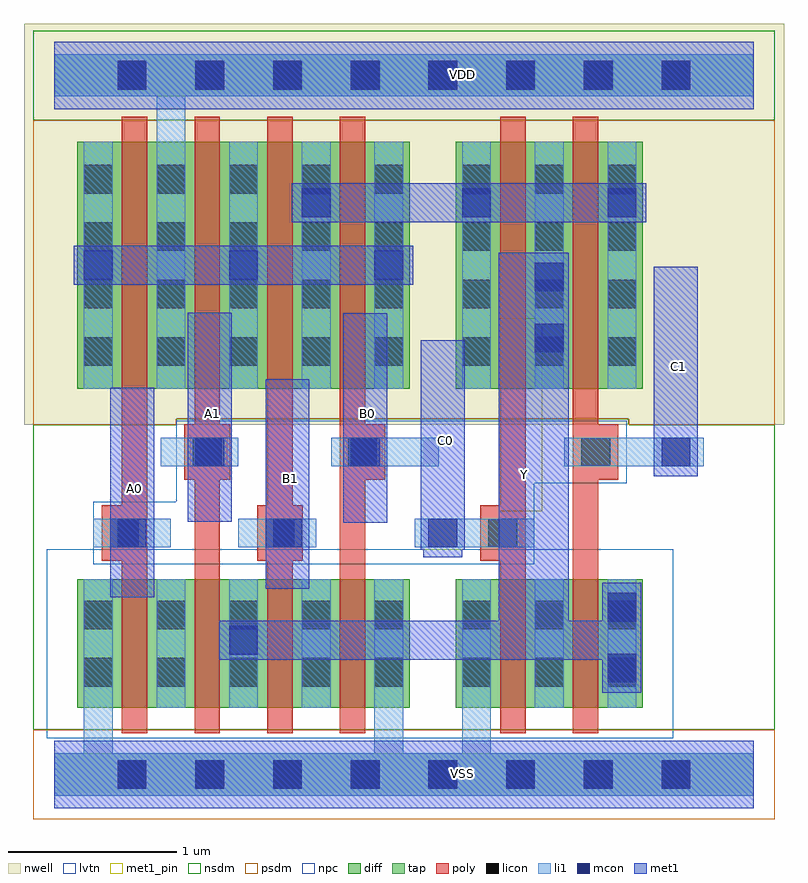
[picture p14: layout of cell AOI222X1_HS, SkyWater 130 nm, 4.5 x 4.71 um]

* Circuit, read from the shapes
.subckt AOI222X1_HS A0 A1 B0 B1 C0 C1 VDD VSS Y
XM1 n1 A0 VSS VSS sky130_fd_pr__nfet_01v8_lvt w=0.76 l=0.15
XM2 Y A1 n1 VSS sky130_fd_pr__nfet_01v8_lvt w=0.76 l=0.15
XM3 n2 B1 Y VSS sky130_fd_pr__nfet_01v8_lvt w=0.76 l=0.15
XM4 VSS B0 n2 VSS sky130_fd_pr__nfet_01v8_lvt w=0.76 l=0.15
XM5 n3 C0 VSS VSS sky130_fd_pr__nfet_01v8_lvt w=0.76 l=0.15
XM6 Y C1 n3 VSS sky130_fd_pr__nfet_01v8_lvt w=0.76 l=0.15
XM7 VDD A0 n4 VDD sky130_fd_pr__pfet_01v8 w=1.46 l=0.15
XM8 n4 A1 VDD VDD sky130_fd_pr__pfet_01v8 w=1.46 l=0.15
XM9 n5 B1 n4 VDD sky130_fd_pr__pfet_01v8 w=1.46 l=0.15
XM10 n4 B0 n5 VDD sky130_fd_pr__pfet_01v8 w=1.46 l=0.15
XM11 Y C0 n5 VDD sky130_fd_pr__pfet_01v8 w=1.46 l=0.15
XM12 n5 C1 Y VDD sky130_fd_pr__pfet_01v8 w=1.46 l=0.15
.ends

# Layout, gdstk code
import gdstk
lib = gdstk.Library(unit=1e-6, precision=1e-09)
def R(c, l, rs):  # rectangles x0, y0, x1, y1
    for r in rs: c.add(gdstk.rectangle(r[:2], r[2:], *l))
def A(c, l, x, y, w, h, nx, ny, dx, dy):  # array of equal rectangles
    R(c, l, [(x+i*dx, y+j*dy, x+i*dx+w, y+j*dy+h) for i in range(nx) for j in range(ny)])
def P(c, l, *ps):  # polygons
    for p in ps: c.add(gdstk.Polygon(p, *l))
nwell = (64, 20)
diff = (65, 20)
tap = (65, 44)
poly = (66, 20)
licon = (66, 44)
li1 = (67, 20)
mcon = (67, 44)
met1_pin = (68, 16)
met1 = (68, 20)
nsdm = (93, 44)
psdm = (94, 20)
npc = (95, 20)
lvtn = (125, 44)

l1m1_c_cdns_750721774076 = lib.new_cell('L1M1_C_CDNS_750721774076')
R(l1m1_c_cdns_750721774076, li1, [(-0.085,-0.345,0.085,0.345)])
R(l1m1_c_cdns_750721774076, mcon, [(-0.085,-0.265,0.085,-0.095), (-0.085,0.095,0.085,0.265)])
R(l1m1_c_cdns_750721774076, met1, [(-0.115,-0.325,0.115,0.325)])

l1m1_c_cdns_750721774071 = lib.new_cell('L1M1_C_CDNS_7507217740713')
R(l1m1_c_cdns_750721774071, li1, [(-0.085,-0.165,0.085,0.165)])
R(l1m1_c_cdns_750721774071, mcon, [(-0.085,-0.085,0.085,0.085)])
R(l1m1_c_cdns_750721774071, met1, [(-0.145,-0.115,0.145,0.115)])

pyl1con_c_cdns_750721774 = lib.new_cell('PYL1CON_C_CDNS_750721774073')
R(pyl1con_c_cdns_750721774, poly, [(-0.135,-0.165,0.135,0.165)])
R(pyl1con_c_cdns_750721774, licon, [(-0.085,-0.085,0.085,0.085)])
R(pyl1con_c_cdns_750721774, npc, [(-0.185,-0.185,0.185,0.185)])

l1m1_c_cdns_750721774074 = lib.new_cell('L1M1_C_CDNS_750721774074')
R(l1m1_c_cdns_750721774074, li1, [(-0.165,-0.085,0.165,0.085)])
R(l1m1_c_cdns_750721774074, mcon, [(-0.085,-0.085,0.085,0.085)])
R(l1m1_c_cdns_750721774074, met1, [(-0.115,-0.145,0.115,0.145)])

l1m1_c_cdns_750721774072 = lib.new_cell('L1M1_C_CDNS_7507217740720')
R(l1m1_c_cdns_750721774072, li1, [(-0.085,-0.165,0.085,0.165)])
R(l1m1_c_cdns_750721774072, mcon, [(-0.085,-0.085,0.085,0.085)])
R(l1m1_c_cdns_750721774072, met1, [(-0.115,-0.085,0.115,0.085)])

aoi222x1_hs = lib.new_cell('AOI222X1_HS')
R(aoi222x1_hs, nwell, [(-0.18,2.07,4.32,4.305), (-0.045,2.105,0.785,3.925), (0.425,2.105,1.215,3.925), (0.855,2.105,1.645,3.925), (1.285,2.105,2.285,3.925), (2.195,2.105,3.195,3.925), (2.835,2.105,3.665,3.925), (-0.18,3.875,4.32,4.445)])
A(aoi222x1_hs, diff, 0.4, 0.395, 0.15, 0.76, 4, 1, 0.43, 0)
A(aoi222x1_hs, diff, 0.55, 0.395, 0.225, 0.76, 3, 1, 0.43, 0)
A(aoi222x1_hs, diff, 0.775, 0.395, 0.055, 0.76, 3, 1, 0.43, 0)
A(aoi222x1_hs, diff, 0.4, 2.285, 0.15, 1.46, 4, 1, 0.43, 0)
A(aoi222x1_hs, diff, 0.55, 2.285, 0.055, 1.46, 3, 1, 0.43, 0)
A(aoi222x1_hs, diff, 0.605, 2.285, 0.225, 1.46, 3, 1, 0.43, 0)
R(aoi222x1_hs, diff, [(0.135,0.395,0.4,1.155), (1.84,0.395,2.105,1.155), (2.375,0.395,2.64,1.155), (2.64,0.395,2.79,1.155), (2.79,0.395,2.845,1.155), (2.845,0.395,3.07,1.155), (3.07,0.395,3.22,1.155), (3.22,0.395,3.485,1.155), (0.135,2.285,0.4,3.745), (1.84,2.285,2.105,3.745), (2.375,2.285,2.64,3.745), (2.64,2.285,2.79,3.745), (2.79,2.285,3.015,3.745), (3.015,2.285,3.07,3.745), (3.07,2.285,3.22,3.745), (3.22,2.285,3.485,3.745)])
A(aoi222x1_hs, poly, 0.4, 0.245, 0.15, 0.055, 4, 2, 0.43, 1.005)
A(aoi222x1_hs, poly, 0.4, 0.3, 0.15, 0.095, 4, 2, 0.43, 0.855)
A(aoi222x1_hs, poly, 0.4, 0.395, 0.15, 0.76, 4, 1, 0.43, 0)
A(aoi222x1_hs, poly, 0.4, 2.135, 0.15, 0.055, 4, 2, 0.43, 1.705)
A(aoi222x1_hs, poly, 0.4, 2.19, 0.15, 0.095, 4, 2, 0.43, 1.555)
A(aoi222x1_hs, poly, 0.4, 2.285, 0.15, 1.46, 4, 1, 0.43, 0)
R(aoi222x1_hs, poly, [(2.64,0.245,2.79,0.3), (3.07,0.245,3.22,0.3), (2.64,0.3,2.79,0.395), (3.07,0.3,3.22,0.395), (2.64,0.395,2.79,1.155), (3.07,0.395,3.22,1.155), (2.64,1.155,2.79,1.25), (3.07,1.155,3.22,1.25), (2.64,1.25,2.79,1.305), (3.07,1.25,3.22,1.305), (2.64,2.135,2.79,2.19), (3.07,2.135,3.22,2.19), (2.64,2.19,2.79,2.285), (3.07,2.19,3.22,2.285), (2.64,2.285,2.79,3.745), (3.07,2.285,3.22,3.745), (2.64,3.745,2.79,3.84), (3.07,3.745,3.22,3.84), (2.64,3.84,2.79,3.895), (3.07,3.84,3.22,3.895)])
A(aoi222x1_hs, licon, 0.375, -0.085, 0.17, 0.17, 8, 2, 0.46, 4.14)
A(aoi222x1_hs, licon, 0.175, 0.52, 0.17, 0.17, 5, 2, 0.43, 0.34)
A(aoi222x1_hs, licon, 2.415, 0.52, 0.17, 0.17, 3, 2, 0.43, 0.34)
A(aoi222x1_hs, licon, 0.175, 2.42, 0.17, 0.17, 5, 4, 0.43, 0.34)
A(aoi222x1_hs, licon, 2.415, 2.42, 0.17, 0.17, 3, 4, 0.43, 0.34)
A(aoi222x1_hs, li1, 0.175, 0.395, 0.17, 0.76, 5, 1, 0.43, 0)
A(aoi222x1_hs, li1, 2.415, 0.395, 0.17, 0.76, 3, 1, 0.43, 0)
A(aoi222x1_hs, li1, 0.175, 2.285, 0.17, 1.46, 5, 1, 0.43, 0)
A(aoi222x1_hs, li1, 2.415, 2.285, 0.17, 1.46, 3, 1, 0.43, 0)
A(aoi222x1_hs, mcon, 0.375, -0.085, 0.17, 0.17, 8, 2, 0.46, 4.14)
R(aoi222x1_hs, met1_pin, [(0.33,1.05,0.59,2.29), (1.25,1.1,1.51,2.34), (2.17,1.33,2.43,2.57), (1.71,1.49,1.97,2.73), (0.79,1.495,1.05,2.735), (2.63,1.56,2.89,2.7), (3.55,1.765,3.81,3.005)])
R(aoi222x1_hs, met1, [(2.63,0.68,3.045,3.09)])
R(aoi222x1_hs, nsdm, [(-0.005,0.265,0.785,1.285), (0.765,0.265,1.215,1.285), (1.195,0.265,1.645,1.285), (1.625,0.265,2.245,1.285), (2.235,0.265,2.855,1.285), (2.835,0.265,3.625,1.285), (-0.125,3.875,4.265,4.405), (-0.125,3.93,4.265,4.35)])
P(aoi222x1_hs, nsdm, [(4.265,2.07),(3.4,2.07),(3.4,2.105),(0.72,2.105),(0.72,2.07),(-0.125,2.07),(-0.125,0.265),(4.265,0.265)])
R(aoi222x1_hs, psdm, [(-0.125,-0.265,4.265,0.265), (-0.125,-0.21,4.265,0.21), (-0.005,2.155,0.615,3.875), (0.595,2.155,1.045,3.875), (1.025,2.155,1.475,3.875), (1.455,2.155,2.245,3.875), (2.235,2.155,3.025,3.875), (3.005,2.155,3.625,3.875)])
P(aoi222x1_hs, psdm, [(4.265,3.875),(-0.125,3.875),(-0.125,2.07),(0.72,2.07),(0.72,2.105),(3.4,2.105),(3.4,2.07),(4.265,2.07)])
P(aoi222x1_hs, npc, [(3.39,2.095),(0.72,2.095),(0.72,1.615),(0.23,1.615),(0.23,1.245),(2.84,1.245),(2.84,1.725),(3.39,1.725)])
R(aoi222x1_hs, lvtn, [(-0.045,0.215,0.955,1.335), (0.595,0.215,1.385,1.335), (1.025,0.215,1.815,1.335), (1.455,0.215,2.285,1.335), (2.195,0.215,3.025,1.335), (2.665,0.215,3.665,1.335)])
aoi222x1_hs.add(gdstk.FlexPath([(0.69,0),(2.47,0)], 0.25, ends=(0.085, 0.085), simple_path=True, layer=67, datatype=20))  # li1
aoi222x1_hs.add(gdstk.FlexPath([(4.055,0),(4.14,0)], 0.25, ends=(0.085, 0), simple_path=True, layer=67, datatype=20))  # li1
aoi222x1_hs.add(gdstk.FlexPath([(3.42,0),(4.055,0)], 0.25, ends=(0.085, 0.085), simple_path=True, layer=67, datatype=20))  # li1
aoi222x1_hs.add(gdstk.FlexPath([(0,0),(0.69,0)], 0.25, ends=(0, 0.085), simple_path=True, layer=67, datatype=20))  # li1
aoi222x1_hs.add(gdstk.FlexPath([(2.47,0),(3.42,0)], 0.25, ends=(0.085, 0.085), simple_path=True, layer=67, datatype=20))  # li1
aoi222x1_hs.add(gdstk.FlexPath([(1.98,0.59),(1.98,0.005)], 0.17, ends="flush", simple_path=True, layer=67, datatype=20))  # li1
aoi222x1_hs.add(gdstk.FlexPath([(0,4.14),(0.69,4.14)], 0.25, ends=(0, 0.085), simple_path=True, layer=67, datatype=20))  # li1
aoi222x1_hs.add(gdstk.FlexPath([(2.47,4.14),(3.42,4.14)], 0.25, ends=(0.085, 0.085), simple_path=True, layer=67, datatype=20))  # li1
aoi222x1_hs.add(gdstk.FlexPath([(3.42,4.14),(4.055,4.14)], 0.25, ends=(0.085, 0.085), simple_path=True, layer=67, datatype=20))  # li1
aoi222x1_hs.add(gdstk.FlexPath([(4.055,4.14),(4.14,4.14)], 0.25, ends=(0.085, 0), simple_path=True, layer=67, datatype=20))  # li1
aoi222x1_hs.add(gdstk.FlexPath([(0.69,4.14),(2.47,4.14)], 0.25, ends=(0.085, 0.085), simple_path=True, layer=67, datatype=20))  # li1
aoi222x1_hs.add(gdstk.FlexPath([(0.26,0.59),(0.26,0.015)], 0.17, ends="flush", simple_path=True, layer=67, datatype=20))  # li1
aoi222x1_hs.add(gdstk.FlexPath([(3.68,1.91),(3.48,1.91)], 0.17, ends="flush", simple_path=True, layer=67, datatype=20))  # li1
aoi222x1_hs.add(gdstk.FlexPath([(0.69,3.55),(0.69,4.14)], 0.17, ends="flush", simple_path=True, layer=67, datatype=20))  # li1
aoi222x1_hs.add(gdstk.FlexPath([(3.48,1.91),(3.02,1.91)], 0.17, ends="flush", simple_path=True, layer=67, datatype=20))  # li1
aoi222x1_hs.add(gdstk.FlexPath([(0.63,1.91),(1.09,1.91)], 0.17, ends="flush", simple_path=True, layer=67, datatype=20))  # li1
aoi222x1_hs.add(gdstk.FlexPath([(2.275,1.91),(1.64,1.91)], 0.17, ends="flush", simple_path=True, layer=67, datatype=20))  # li1
aoi222x1_hs.add(gdstk.FlexPath([(0.69,1.43),(0.23,1.43)], 0.17, ends="flush", simple_path=True, layer=67, datatype=20))  # li1
aoi222x1_hs.add(gdstk.FlexPath([(2.38,1.43),(2.84,1.43)], 0.17, ends="flush", simple_path=True, layer=67, datatype=20))  # li1
aoi222x1_hs.add(gdstk.FlexPath([(1.55,1.43),(1.09,1.43)], 0.17, ends="flush", simple_path=True, layer=67, datatype=20))  # li1
aoi222x1_hs.add(gdstk.FlexPath([(2.5,0.59),(2.5,0)], 0.17, ends=(0, 0.085), simple_path=True, layer=67, datatype=20))  # li1
aoi222x1_hs.add(gdstk.FlexPath([(2.5,0),(2.47,0)], 0.17, ends=(0.085, 0), simple_path=True, layer=67, datatype=20))  # li1
aoi222x1_hs.add(gdstk.FlexPath([(3.145,2.135),(3.145,1.305)], 0.15, ends="flush", simple_path=True, layer=66, datatype=20))  # poly
aoi222x1_hs.add(gdstk.FlexPath([(2.715,2.135),(2.715,1.305)], 0.15, ends="flush", simple_path=True, layer=66, datatype=20))  # poly
aoi222x1_hs.add(gdstk.FlexPath([(1.765,2.135),(1.765,1.305)], 0.15, ends="flush", simple_path=True, layer=66, datatype=20))  # poly
aoi222x1_hs.add(gdstk.FlexPath([(1.335,2.135),(1.335,1.305)], 0.15, ends="flush", simple_path=True, layer=66, datatype=20))  # poly
aoi222x1_hs.add(gdstk.FlexPath([(0.905,2.135),(0.905,1.305)], 0.15, ends="flush", simple_path=True, layer=66, datatype=20))  # poly
aoi222x1_hs.add(gdstk.FlexPath([(0.475,2.135),(0.475,1.305)], 0.15, ends="flush", simple_path=True, layer=66, datatype=20))  # poly
aoi222x1_hs.add(gdstk.FlexPath([(0,4.14),(4.14,4.14)], 0.4, ends="flush", simple_path=True, layer=68, datatype=20))  # met1
aoi222x1_hs.add(gdstk.FlexPath([(2.76,2.72),(2.76,0.825)], 0.26, ends=(0, 0.145), simple_path=True, layer=68, datatype=20))  # met1
aoi222x1_hs.add(gdstk.FlexPath([(0,0),(4.14,0)], 0.4, ends="flush", simple_path=True, layer=68, datatype=20))  # met1
aoi222x1_hs.add(gdstk.FlexPath([(3.68,3.005),(3.68,1.765)], 0.26, ends="flush", simple_path=True, layer=68, datatype=20))  # met1
aoi222x1_hs.add(gdstk.FlexPath([(1.84,2.73),(1.84,1.49)], 0.26, ends="flush", simple_path=True, layer=68, datatype=20))  # met1
aoi222x1_hs.add(gdstk.FlexPath([(2.3,2.57),(2.3,1.33)], 0.26, ends="flush", simple_path=True, layer=68, datatype=20))  # met1
aoi222x1_hs.add(gdstk.FlexPath([(0.46,2.29),(0.46,1.05)], 0.26, ends="flush", simple_path=True, layer=68, datatype=20))  # met1
aoi222x1_hs.add(gdstk.FlexPath([(1.38,2.34),(1.38,1.1)], 0.26, ends="flush", simple_path=True, layer=68, datatype=20))  # met1
aoi222x1_hs.add(gdstk.FlexPath([(0.975,0.795),(3.36,0.795)], 0.23, ends=(0, 0.115), simple_path=True, layer=68, datatype=20))  # met1
aoi222x1_hs.add(gdstk.FlexPath([(3.36,0.795),(3.36,1.005)], 0.23, ends=(0.115, 0), simple_path=True, layer=68, datatype=20))  # met1
aoi222x1_hs.add(gdstk.FlexPath([(2.125,3.015),(0.26,3.015)], 0.23, ends="flush", simple_path=True, layer=68, datatype=20))  # met1
aoi222x1_hs.add(gdstk.FlexPath([(3.36,3.385),(1.55,3.385)], 0.23, ends="flush", simple_path=True, layer=68, datatype=20))  # met1
aoi222x1_hs.add(gdstk.FlexPath([(2.76,0.825),(2.76,0.7)], 0.26, ends=(0.145, 0), simple_path=True, layer=68, datatype=20))  # met1
aoi222x1_hs.add(gdstk.FlexPath([(0.92,2.735),(0.92,1.495)], 0.26, ends="flush", simple_path=True, layer=68, datatype=20))  # met1
aoi222x1_hs.add(gdstk.FlexPath([(0,0),(4.14,0)], 0.25, ends="flush", simple_path=True, layer=65, datatype=44))  # tap
aoi222x1_hs.add(gdstk.FlexPath([(0,4.14),(4.14,4.14)], 0.25, ends="flush", simple_path=True, layer=65, datatype=44))  # tap
aoi222x1_hs.add(gdstk.FlexPath([(0,4.14),(4.14,4.14)], 0.4, ends="flush", simple_path=True, layer=68, datatype=16))  # met1_pin
aoi222x1_hs.add(gdstk.FlexPath([(0,0),(4.14,0)], 0.4, ends="flush", simple_path=True, layer=68, datatype=16))  # met1_pin
aoi222x1_hs.add(gdstk.Reference(l1m1_c_cdns_750721774076, (3.36,0.81)))
aoi222x1_hs.add(gdstk.Reference(l1m1_c_cdns_750721774076, (2.93,2.765)))
aoi222x1_hs.add(gdstk.Reference(l1m1_c_cdns_750721774071, (1.98,3.015)))
aoi222x1_hs.add(gdstk.Reference(l1m1_c_cdns_750721774071, (0.26,3.015)))
aoi222x1_hs.add(gdstk.Reference(l1m1_c_cdns_750721774071, (1.12,3.015)))
aoi222x1_hs.add(gdstk.Reference(l1m1_c_cdns_750721774071, (1.55,3.385)))
aoi222x1_hs.add(gdstk.Reference(l1m1_c_cdns_750721774071, (2.5,3.385)))
aoi222x1_hs.add(gdstk.Reference(l1m1_c_cdns_750721774071, (3.36,3.385)))
aoi222x1_hs.add(gdstk.Reference(pyl1con_c_cdns_750721774, (0.905,1.91)))
aoi222x1_hs.add(gdstk.Reference(pyl1con_c_cdns_750721774, (0.415,1.43)))
aoi222x1_hs.add(gdstk.Reference(pyl1con_c_cdns_750721774, (1.335,1.43)))
aoi222x1_hs.add(gdstk.Reference(pyl1con_c_cdns_750721774, (1.825,1.91)))
aoi222x1_hs.add(gdstk.Reference(pyl1con_c_cdns_750721774, (2.655,1.43)))
aoi222x1_hs.add(gdstk.Reference(pyl1con_c_cdns_750721774, (3.205,1.91)))
aoi222x1_hs.add(gdstk.Reference(l1m1_c_cdns_750721774074, (3.68,1.91)))
aoi222x1_hs.add(gdstk.Reference(l1m1_c_cdns_750721774074, (1.84,1.91)))
aoi222x1_hs.add(gdstk.Reference(l1m1_c_cdns_750721774074, (0.92,1.91)))
aoi222x1_hs.add(gdstk.Reference(l1m1_c_cdns_750721774074, (2.3,1.43)))
aoi222x1_hs.add(gdstk.Reference(l1m1_c_cdns_750721774074, (1.38,1.43)))
aoi222x1_hs.add(gdstk.Reference(l1m1_c_cdns_750721774074, (0.46,1.43)))
aoi222x1_hs.add(gdstk.Reference(l1m1_c_cdns_750721774072, (1.12,0.795)))
aoi222x1_hs.add(gdstk.Label('VDD', (2.415,4.145), layer=68, texttype=5))
aoi222x1_hs.add(gdstk.Label('Y', (2.785,1.775), layer=68, texttype=5))
aoi222x1_hs.add(gdstk.Label('C1', (3.695,2.415), layer=68, texttype=5))
aoi222x1_hs.add(gdstk.Label('B0', (1.855,2.135), layer=68, texttype=5))
aoi222x1_hs.add(gdstk.Label('B1', (1.395,1.75), layer=68, texttype=5))
aoi222x1_hs.add(gdstk.Label('C0', (2.315,1.975), layer=68, texttype=5))
aoi222x1_hs.add(gdstk.Label('A1', (0.935,2.14), layer=68, texttype=5))
aoi222x1_hs.add(gdstk.Label('A0', (0.475,1.695), layer=68, texttype=5))
aoi222x1_hs.add(gdstk.Label('VSS', (2.415,0.005), layer=68, texttype=5))

lib.write_gds('AOI222X1_HS.gds')
